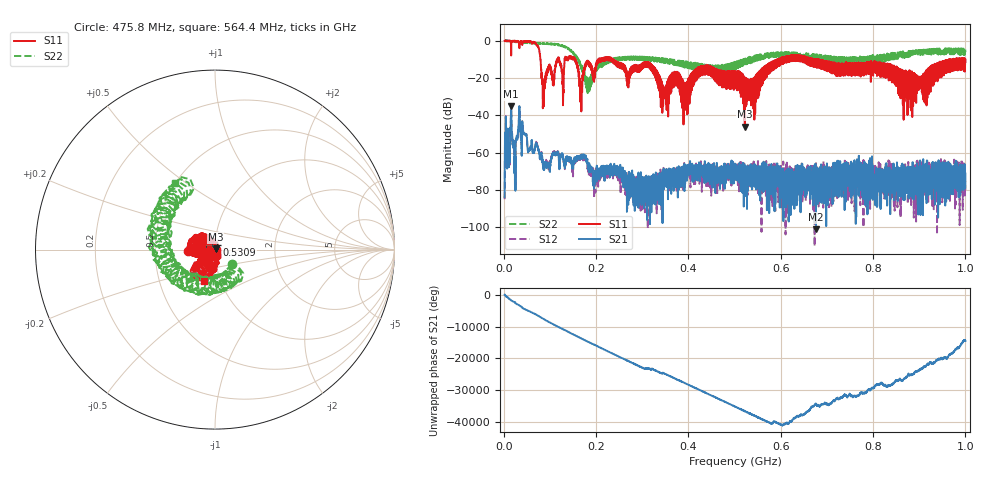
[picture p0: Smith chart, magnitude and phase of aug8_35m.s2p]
!Keysight Technologies N9923A: A.12.45
!Date: Friday, 08 August 2025 17:56:18
!Timezone: (UTC+08:00) Kuala Lumpur, Singapore
!Model: N9923A
!Serial: MY61181427
!GPS Latitude:
!GPS Longitude:
!GPS TimeStamp: 0001-01-01 00:00:00Z
!GPS Seconds Since Last Read: 0
!CHECKSUM:1350561004
!Correction: S11(ON U)S21(ON U)S12(ON U)S22(ON U)
!S2P File: Measurements:S11,S21,S12,S22:
# Hz S DB R 50
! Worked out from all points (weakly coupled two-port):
!   4001 points, 2 MHz to 1 GHz, reference 50 ohm
!   highest |S21| = -35.14 dB at 16.22 MHz (marker M1); lowest = -101.0 dB at 676.4 MHz (marker M2)
!   lowest |S11| = -46.1 dB at 522.2 MHz (marker M3), VSWR 1.01, Z = 50.5 + j0.15 ohm
!   |S11| at or under -10 dB: 155.2 MHz to 205.9 MHz (50.64 MHz wide, 28 % of centre); 236.1 MHz to 594.5 MHz (358.4 MHz wide, 86.3 % of centre); 680.7 MHz to 964.1 MHz (283.3 MHz wide, 34.5 % of centre) (the widest 3 of 101)
!   |S22| runs from -28.1 to 0.1 dB; largest |S21 - S12| = 0.00099
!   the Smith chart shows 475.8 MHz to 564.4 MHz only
!   S11 on the Smith chart (normalised r, x): 475.8 MHz: 0.74, -0.02; 530.9 MHz: 1.02, +0.05; 564.4 MHz: 0.83, -0.30
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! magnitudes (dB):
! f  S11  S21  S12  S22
! 2 MHz  -0.1  -83.8  -84.9  0.0
! 16.22 MHz  -8.0  -35.1  -35.1  -0.3
! 70.86 MHz  -2.0  -54.9  -54.6  -1.2
! 86.83 MHz  -35.2  -68.2  -67.3  -1.7
! 145.2 MHz  -8.4  -65.3  -65.2  -5.6
! 168.4 MHz  -35.8  -61.3  -61.8  -14.0
! 183.6 MHz  -11.3  -67.2  -67.8  -27.9
! 222.6 MHz  -9.0  -68.7  -70.9  -10.8
! 334.8 MHz  -19.1  -76.8  -75.3  -11.4
! 348.3 MHz  -30.4  -74.4  -69.1  -11.9
! 370.5 MHz  -16.7  -71.3  -70.1  -11.7
! 394.2 MHz  -34.8  -72.7  -70.2  -11.7
! 475.8 MHz  -16.5  -69.0  -68.0  -18.0
! 501 MHz  -16.2  -68.7  -70.3  -15.7
! 522.2 MHz  -46.1  -70.2  -69.4  -9.7
! 530.9 MHz  -31.0  -68.7  -67.4  -10.6
! 564.4 MHz  -14.7  -69.9  -69.8  -7.3
! 667.4 MHz  -10.1  -79.2  -78.7  -8.3
! 676.4 MHz  -14.1  -101.0  -65.7  -10.3
! 833.8 MHz  -18.9  -74.6  -83.2  -8.0
! 906.2 MHz  -22.2  -75.0  -78.3  -6.5
! 1 GHz  -11.3  -71.2  -80.0  -6.2
